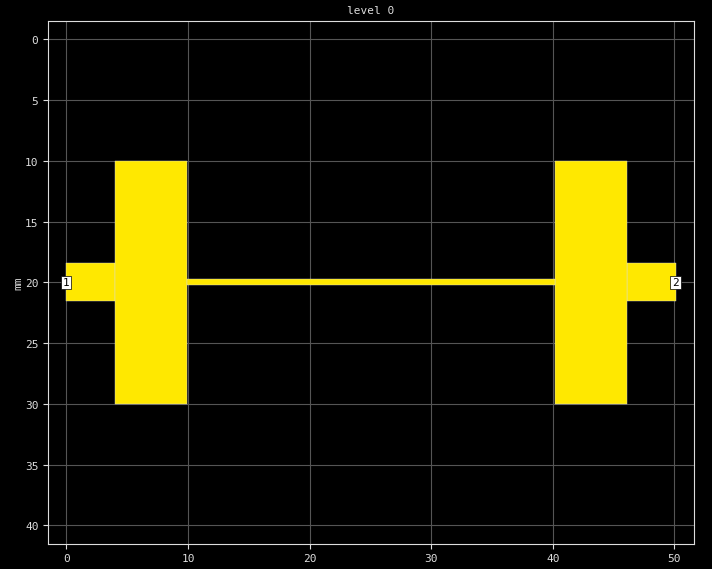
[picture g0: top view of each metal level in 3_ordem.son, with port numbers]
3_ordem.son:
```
FTYP SONPROJ 13 ! Sonnet Project File
VER 15.53.lite
HEADER
LIC SL290709.106431 847bebfebdba DESKTOP-1CMJ3DP Arihe
DAT 05/05/2019 16:31:42
BUILT_BY_CREATED xgeom 15.53-Lite 04/13/2019 20:59:13
BUILT_BY_SAVED xgeom 15.53-Lite
MDATE 05/05/2019 16:31:42
HDATE 05/05/2019 16:31:42
END HEADER
DIM
FREQ GHZ
RSVY OHMM
IND NH
LNG MM
ANG DEG
CON /OH
CAP PF
RES OH
END DIM
FREQ
ABS 1.0e-9 3.0 
END FREQ
CONTROL
ABS
OPTIONS  -dj 
SPEED 0
CACHE_ABS 1
TARG_ABS 300
Q_ACC N
END CONTROL
GEO
DRP1 LEFT LINK
POLY 26 1
1
DRP1 RIGHT LINK
POLY 27 1
0
TMET "Lossless" 0 SUP 0 0 0 0
BMET "Lossless" 0 SUP 0 0 0 0
MET "Copper" 1 NOR 58000000 0 0.0347 
BOX 1 50.1 40 1002 800 20 0
      20 1 1 0 0 0 0 "Air"
      1.5306 4.4 1 0.02 0 0 0 "FR-4"
LORGN 0 40 U 
POR1 STD
POLY 26 1
3
1 50 0 0 0 -1.484743677e-006 20 
POR1 STD
POLY 27 1
1
2 50 0 0 0 50.09999852 20 
NUM 5
0 5 0 N 26 1 1 100 100 0 0 0 Y
-1.484743677e-006 18.45
3.999998515 18.45
3.999998515 21.55
-1.484743677e-006 21.55
-1.484743677e-006 18.45
END
0 5 0 N 27 1 1 100 100 0 0 0 Y
46.09999852 18.45
50.09999852 18.45
50.09999852 21.55
46.09999852 21.55
46.09999852 18.45
END
0 5 0 N 33 1 1 100 100 0 0 0 Y
3.999998515 10
9.899998515 10
9.899998515 30
3.999998515 30
3.999998515 10
END
0 5 0 N 34 1 1 100 100 0 0 0 Y
40.19999852 10
46.09999852 10
46.09999852 30
40.19999852 30
40.19999852 10
END
0 5 0 N 37 1 1 100 100 0 0 0 Y
9.9 19.75
40.2 19.75
40.2 20.25
9.9 20.25
9.9 19.75
END
END GEO
OPT
MAX 100
VARS
END
END OPT
VARSWP
END VARSWP
QSG
IMPORT NO
EXTRA_METAL NO
UNITS YES
ALIGN NO
REF NO
VIEW_RES NO
METALS YES
USED YES
END QSG
```
